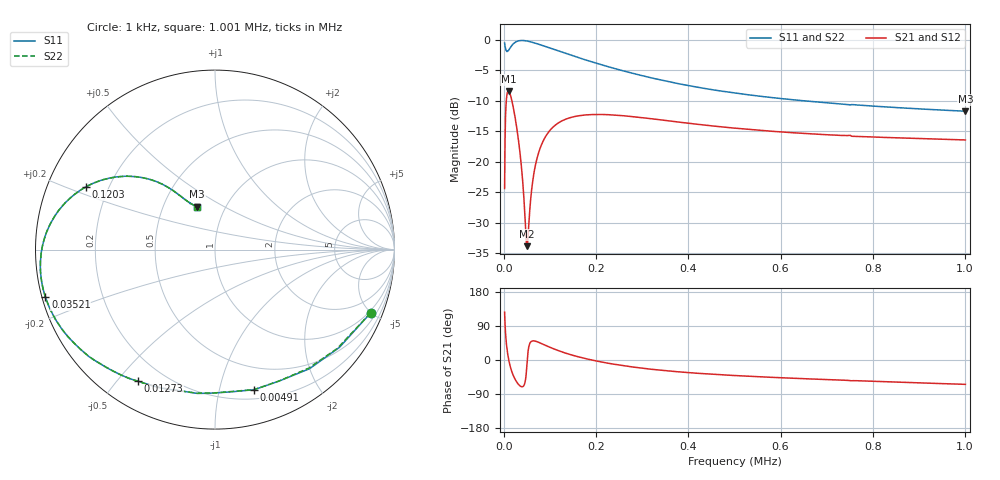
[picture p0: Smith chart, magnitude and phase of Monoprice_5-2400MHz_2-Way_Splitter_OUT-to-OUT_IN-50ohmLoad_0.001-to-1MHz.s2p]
! ListType=Lin
! Comment=Monoprice_5-2400MHz_2-Way_Splitter_OUT-to-OUT_IN-50ohmLoad_0.001-to-1MHz
# MHZ S DB R 50
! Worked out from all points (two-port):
!   1024 points, 1 kHz to 1.001 MHz, reference 50 ohm
!   highest |S21| = -8.45 dB at 9.798 kHz (marker M1); lowest = -33.8 dB at 49.88 kHz (marker M2)
!   |S21| within 3 dB of the highest: 3.638 kHz to 20.69 kHz (17.05 kHz wide, 140 % of centre)
!   lowest |S11| = -11.7 dB at 1.001 MHz (marker M3), VSWR 1.70, Z = 36.8 + j18.8 ohm
!   |S11| at or under -10 dB: 645.9 kHz to end of sweep
!   |S22| runs from -11.7 to -0.2 dB; largest |S21 - S12| = 0.0026
!   S11 on the Smith chart (normalised r, x): 1 kHz: 0.87, -4.96; 4.91 kHz: 0.28, -1.28; 12.73 kHz: 0.11, -0.57; 35.21 kHz: 0.01, -0.14; 120.3 kHz: 0.12, +0.23; 1.001 MHz: 0.74, +0.38
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0.001  -0.57 -22.2  -24.40 126.1  -24.41 126.1  -0.58 -22.2
0.0049101  -1.82 -74.4  -9.80 42.4  -9.81 42.6  -1.83 -74.4
0.0068651  -1.94 -90.6  -8.71 22.6  -8.72 22.6  -1.95 -90.6
0.0097977  -1.73 -108.0  -8.45 1.1  -8.46 1.1  -1.73 -108.0
0.0127302  -1.41 -120.5  -8.89 -14.7  -8.90 -14.7  -1.41 -120.5
0.0176178  -0.89 -135.2  -10.31 -34.0  -10.31 -34.0  -0.90 -135.2
0.0225054  -0.53 -145.8  -12.21 -48.0  -12.21 -48.0  -0.53 -145.9
0.0352131  -0.17 -164.3  -19.11 -69.0  -19.12 -69.0  -0.17 -164.3
0.0459658  -0.20 -174.4  -30.10 -54.8  -30.11 -54.8  -0.20 -174.4
0.0498759  -0.24 -177.3  -33.84 -5.3  -33.84 -5.3  -0.25 -177.3
0.0528084  -0.29 -179.4  -31.11 30.1  -31.10 30.1  -0.29 -179.4
0.0635611  -0.50 174.2  -22.38 50.5  -22.38 50.5  -0.50 174.2
0.0743138  -0.75 169.0  -18.66 46.9  -18.65 46.9  -0.76 169.0
0.0928866  -1.23 161.9  -15.53 36.9  -15.53 37.0  -1.23 161.9
0.1202571  -1.93 154.2  -13.53 23.6  -13.53 23.6  -1.94 154.2
0.1681554  -3.14 144.8  -12.42 6.2  -12.42 6.2  -3.14 144.8
0.2444018  -4.84 135.5  -12.39 -12.3  -12.39 -12.3  -4.84 135.5
0.3353109  -6.54 129.0  -13.11 -26.5  -13.12 -26.5  -6.54 129.0
0.5014888  -8.76 123.3  -14.52 -41.1  -14.52 -41.1  -8.77 123.3
0.6676667  -10.14 119.8  -15.46 -50.1  -15.46 -50.1  -10.15 119.8
0.8348221  -11.07 116.4  -16.06 -57.6  -16.06 -57.6  -11.06 116.4
1.001  -11.74 112.8  -16.44 -64.2  -16.45 -64.2  -11.74 112.8
